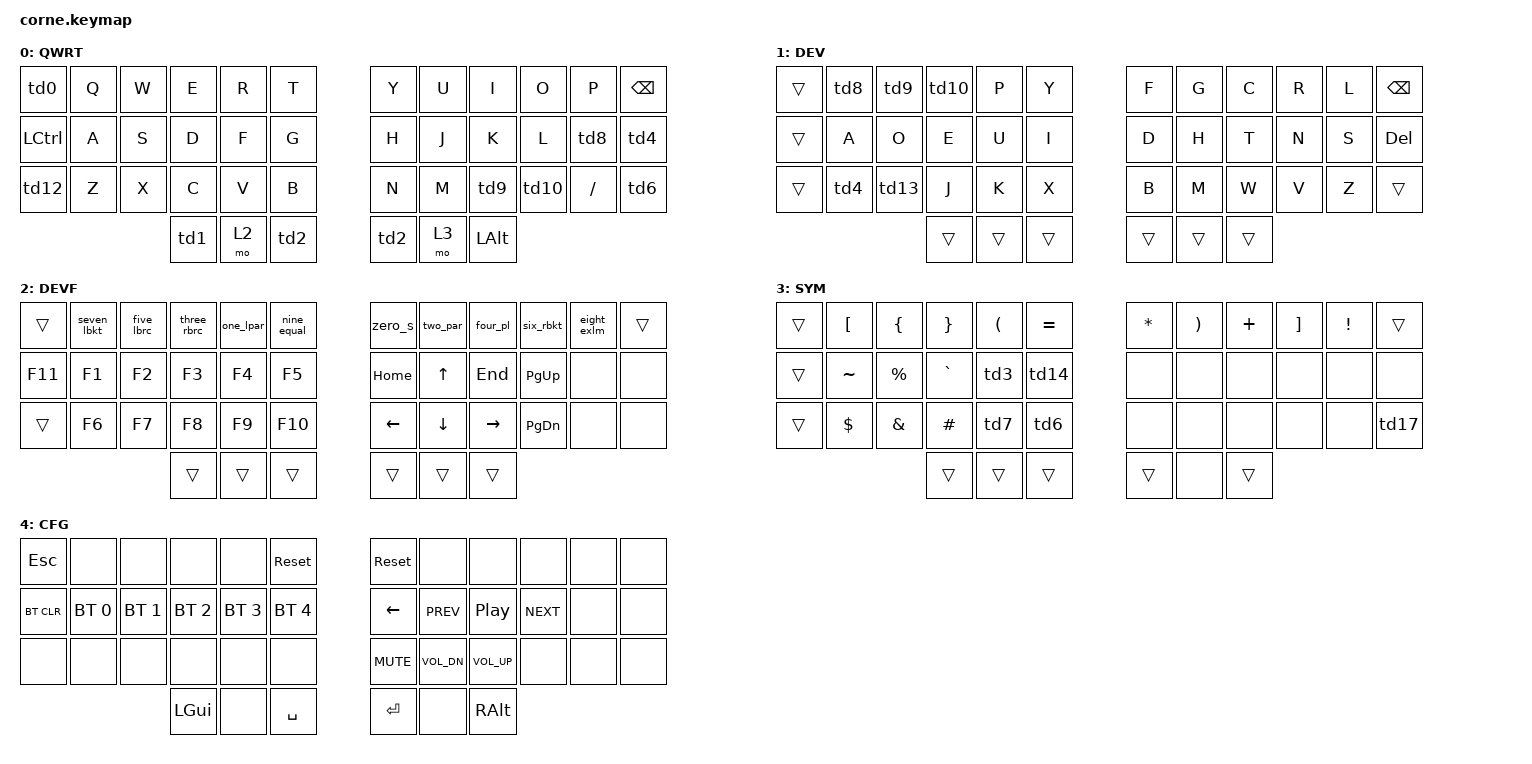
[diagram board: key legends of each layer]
/*
 * Copyright (c) 2020 The ZMK Contributors
 *
 * SPDX-License-Identifier: MIT
 */

#include <behaviors.dtsi>
#include <dt-bindings/zmk/bt.h>
#include <dt-bindings/zmk/keys.h>

#define BASE 0
#define NAV 1
#define SYM 2
#define BT 3

// TAP_DANCE settings

#define TAP_SPEED 200

// MACROS to make the the code easier to read
// include name or reference in keymap
// Format: 
//      name        reference  key1 key2 
// #define TD_TAB      &td0    // TAB ESC
// #define TD_CAPLOCK  &td1    // LSHIFT CAPSLOCK 
// #define TD_SPC      &td2    // SPACE ENTER 
// #define TD_SLSH     &td3    // SLASH QMARK
// #define TD_QUOTE    &td4    // QUOTE DOUBLE_QUOTES
// #define TD_EQL      &td5    // EQUAL PLUS
// #define TD_BSLS     &td6    // BACKSLASH PIPE 
// #define TD_MINUS    &td7    // MINUS UNDERSCORE
// #define TD_SCLN     &td8    // SEMICOLON COLON 
// #define TD_COMM     &td9    // COMMA LESS_THAN 
// #define TD_DOT      &td10   // PERIOD GREATER_THAN 
// #define TD_BACKF    &td11   // GRAVE TILDE
// #define TD_ALT      &td12   // LALT GUI
// #define TD_ARR      &td13   // Q AT (@)
// #define TD_ATCAT    &td14   // AT CARET 
// #define TD_TAW      &td15   // TAB LWIN
// #define TD_SCLOCK   &td16   // (S)LSHIFT CAPSLOCK (Sticky shift)
// include &name in keymap to use
// FORMAT
//   natural --> (on shift)
//   number --> symbols | number code --> symbol code 
// one_lpar    1 --> (  | N1 --> LPAR
// two_par     2 --> )  | N2 --> RPAR
// three_rbrc  3 --> }  | N3 --> RBRC
// four_pl     4 --> ]  | N4 --> PLUS
// five_lbrc   5 --> {  | N5 --> RSFT
// six_rbkt    6 --> ]  | N6 --> RBKT
// seven_lbkt  7 --> [  | N7 --> LBKT
// eight_exlm  8 --> !  | N8 --> EXCL
// nine_equal  9 --> =  | N9 --> EQUAL
// zero_s      0 --> *  | N0 --> STAR
/*
// Sticky key config if desired
&sk {
    //release-after-ms = <2000>;
    quick-release;
};

*/

/ {
    behaviors {
        td0: tap_dance_0 {
            compatible = "zmk,behavior-tap-dance";
            label = "TAP_DANCE_0";
            #binding-cells = <0>;
            tapping-term-ms = <TAP_SPEED>;
            bindings =
                <&kp TAB>,
                <&kp ESC>;
        };
        td1: tap_dance_1 {
            compatible = "zmk,behavior-tap-dance";
            label = "TAP_DANCE_1";
            #binding-cells = <0>;
            tapping-term-ms = <TAP_SPEED>;
            bindings =
                <&kp LSHIFT>,
                <&kp CAPSLOCK>;
        };
        td2: tap_dance_2 {
            compatible = "zmk,behavior-tap-dance";
            label = "TAP_DANCE_2";
            #binding-cells = <0>;
            tapping-term-ms = <TAP_SPEED>;
            bindings =
                <&kp SPACE>,
                <&kp ENTER>;
        };
        td3: tap_dance_3 {
            compatible = "zmk,behavior-tap-dance";
            label = "TAP_DANCE_3";
            #binding-cells = <0>;
            tapping-term-ms = <TAP_SPEED>;
            bindings =
                <&kp SLASH>,
                <&kp QMARK>;
        };
        td4: tap_dance_4 {
            compatible = "zmk,behavior-tap-dance";
            label = "TAP_DANCE_4";
            #binding-cells = <0>;
            tapping-term-ms = <TAP_SPEED>;
            bindings =
                <&kp SINGLE_QUOTE>,
                <&kp DOUBLE_QUOTES>;
        };
        td5: tap_dance_5 {
            compatible = "zmk,behavior-tap-dance";
            label = "TAP_DANCE_5";
            #binding-cells = <0>;
            tapping-term-ms = <TAP_SPEED>;
            bindings =
                <&kp EQUAL>,
                <&kp PLUS>;
        };
        td6: tap_dance_6 {
            compatible = "zmk,behavior-tap-dance";
            label = "TAP_DANCE_6";
            #binding-cells = <0>;
            tapping-term-ms = <TAP_SPEED>;
            bindings =
                <&kp BACKSLASH>,
                <&kp PIPE>;
        };
        td7: tap_dance_7 {
            compatible = "zmk,behavior-tap-dance";
            label = "TAP_DANCE_7";
            #binding-cells = <0>;
            tapping-term-ms = <TAP_SPEED>;
            bindings =
                <&kp MINUS>,
                <&kp UNDERSCORE>;
        };
        td8: tap_dance_8 {
            compatible = "zmk,behavior-tap-dance";
            label = "TAP_DANCE_8";
            #binding-cells = <0>;
            tapping-term-ms = <TAP_SPEED>;
            bindings =
                <&kp SEMICOLON>,
                <&kp COLON>;
        };
        td9: tap_dance_9 {
            compatible = "zmk,behavior-tap-dance";
            label = "TAP_DANCE_9";
            #binding-cells = <0>;
            tapping-term-ms = <TAP_SPEED>;
            bindings =
                <&kp COMMA>,
                <&kp LESS_THAN>;
        };
        td10: tap_dance_10 {
            compatible = "zmk,behavior-tap-dance";
            label = "TAP_DANCE_10";
            #binding-cells = <0>;
            tapping-term-ms = <TAP_SPEED>;
            bindings =
                <&kp PERIOD>,
                <&kp GREATER_THAN>;
        };
        td11: tap_dance_11 {
            compatible = "zmk,behavior-tap-dance";
            label = "TAP_DANCE_11";
            #binding-cells = <0>;
            tapping-term-ms = <TAP_SPEED>;
            bindings =
                <&kp GRAVE>,
                <&kp TILDE>;
        };
        td12: tap_dance_12 {
            compatible = "zmk,behavior-tap-dance";
            label = "TAP_DANCE_12";
            #binding-cells = <0>;
            tapping-term-ms = <TAP_SPEED>;
            bindings =
                <&kp LALT>,
                <&kp LGUI>;
        };
        td13: tap_dance_13 {
            compatible = "zmk,behavior-tap-dance";
            label = "TAP_DANCE_13";
            #binding-cells = <0>;
            tapping-term-ms = <TAP_SPEED>;
            bindings =
                <&kp Q>,
                <&kp AT>;
        };
        td14: tap_dance_14 {
            compatible = "zmk,behavior-tap-dance";
            label = "TAP_DANCE_14";
            #binding-cells = <0>;
            tapping-term-ms = <TAP_SPEED>;
            bindings =
                <&kp AT>,
                <&kp CARET>;
        };
        td15: tap_dance_15 {
            compatible = "zmk,behavior-tap-dance";
            label = "TAP_DANCE_15";
            #binding-cells = <0>;
            tapping-term-ms = <TAP_SPEED>;
            bindings =
                <&kp TAB>,
                <&kp LWIN>;
        };
        td16: tap_dance_16 {
            compatible = "zmk,behavior-tap-dance";
            label = "TAP_DANCE_16";
            #binding-cells = <0>;
            tapping-term-ms = <TAP_SPEED>;
            bindings =
                <&sk LSHIFT>,
                <&caps_word>;
        };

        // create the shifts of dvorak 

        seven_lbkt: seven_lbkt {
            compatible = "zmk,behavior-mod-morph";
            label = "SEVEN_LBKT";
            #binding-cells = <0>;
            bindings =
                <&kp N7>,
                <&kp LBKT>;

            mods = <(MOD_LSFT|MOD_RSFT)>;
        };
        five_lbrc: five_lbrc {
            compatible = "zmk,behavior-mod-morph";
            label = "FIVE_LBRC";
            #binding-cells = <0>;
            bindings =
                <&kp N5>,
                <&kp LBRC>;

            mods = <(MOD_LSFT|MOD_RSFT)>;
        };
        three_rbrc: three_rbrc {
            compatible = "zmk,behavior-mod-morph";
            label = "THREE_RBRC";
            #binding-cells = <0>;
            bindings =
                <&kp N3>,
                <&kp RBRC>;

            mods = <(MOD_LSFT|MOD_RSFT)>;
        };
        one_lpar: one_lpar {
            compatible = "zmk,behavior-mod-morph";
            label = "ONE_LPAR";
            #binding-cells = <0>;
            bindings =
                <&kp N1>,
                <&kp LPAR>;

            mods = <(MOD_LSFT|MOD_RSFT)>;
        };
        nine_equal: nine_equal {
            compatible = "zmk,behavior-mod-morph";
            label = "nine_equal";
            #binding-cells = <0>;
            bindings =
                <&kp N9>,
                <&kp EQUAL>;

            mods = <(MOD_LSFT|MOD_RSFT)>;
        };
        zero_s: zero_star {
            compatible = "zmk,behavior-mod-morph";
            label = "ZERO_STAR";
            #binding-cells = <0>;
            bindings =
                <&kp N0>,
                <&kp STAR>;

            mods = <(MOD_LSFT|MOD_RSFT)>;
        };
        two_par: two_paren {
            compatible = "zmk,behavior-mod-morph";
            label = "TWO_PAR";
            #binding-cells = <0>;
            bindings =
                <&kp N2>,
                <&kp RPAR>;

            mods = <(MOD_LSFT|MOD_RSFT)>;
        };
        four_pl: four_plus {
            compatible = "zmk,behavior-mod-morph";
            label = "FOUR_PLUS";
            #binding-cells = <0>;
            bindings =
                <&kp N4>,
                <&kp PLUS>;

            mods = <(MOD_LSFT|MOD_RSFT)>;
        };
        six_rbkt: six_rbkt {
            compatible = "zmk,behavior-mod-morph";
            label = "six_rbkt";
            #binding-cells = <0>;
            bindings =
                <&kp N6>,
                <&kp RBKT>;

            mods = <(MOD_LSFT|MOD_RSFT)>;
        };
        eight_exlm: eight_exlm {
            compatible = "zmk,behavior-mod-morph";
            label = "EIGHT_EXLM";
            #binding-cells = <0>;
            bindings =
                <&kp N8>,
                <&kp EXCL>;

            mods = <(MOD_LSFT|MOD_RSFT)>;
        };
        td17: tap_dance_17 {
            compatible = "zmk,behavior-tap-dance";
            label = "TAP_DANCE_17";
            #binding-cells = <0>;
            bindings =
                <&str1>,
                <&str2>,
                <&str3>;
        };
    };

    // LAYERS

    conditional_layers {
        compatible = "zmk,conditional-layers";

        tri_layer {
            if-layers = <1 2>;
            then-layer = <3>;
        };
    };

    combos {
        compatible = "zmk,combos";

        dev_mode {
            bindings = <&to 1>;
            key-positions = <36 41>;
            layers = <0>;
        };

        cfg_mode {
            bindings = <&tog 4>;
            key-positions = <37 40>;
            layers = <0 1 4>;
        };

        qwrt_mode {
            bindings = <&to 0>;
            key-positions = <36 41>;
            layers = <1>;
        };
    };

    macros {
        str1: str1 {
            compatible = "zmk,behavior-macro";
            label = "STR1";
            #binding-cells = <0>;
            bindings = <&kp N3 &kp DLLR &kp LS(T) &kp LS(R) &kp N4 &kp T &kp N0 &kp S>;
        };
        str2: str2 {
            compatible = "zmk,behavior-macro";
            label = "STR2";
            #binding-cells = <0>;
            bindings = <&kp N3 &kp DLLR &kp LS(T) &kp LS(R) &kp N4 &kp T &kp N0 &kp S &kp N1 &kp N9 &kp N8 &kp N5 &kp N0 &kp N0 &kp N7>;
        };
        str3: str3 {
            compatible = "zmk,behavior-macro";
            label = "STR3";
            #binding-cells = <0>;
            bindings = <&kp LS(S) &kp O &kp F &kp T &kp T &kp E &kp K &kp DOT &kp N1 &kp N8>;
        };
    };

    keymap {
        compatible = "zmk,keymap";

        qwerty {
            bindings = <
     &td0  &kp Q  &kp W  &kp E  &kp R  &kp T    &kp Y  &kp U     &kp I  &kp O     &kp P  &kp BACKSPACE
&kp LCTRL  &kp A  &kp S  &kp D  &kp F  &kp G    &kp H  &kp J     &kp K  &kp L      &td8           &td4
    &td12  &kp Z  &kp X  &kp C  &kp V  &kp B    &kp N  &kp M      &td9  &td10  &kp FSLH           &td6
                          &td1  &mo 2   &td2     &td2  &mo 3  &kp LALT
            >;

            label = "QWRT";
        };

        dvorak {
            // -----------------------------------------------------------------------------------------
            // |TAB:ESC   | ; : | , < | . > |  P  |  Y  |         | F   |  G   |  C  |  R  |  L  | BKSP |
            // | CTRL     |  A  |  O  |  E  |  U  |  I  |         |  D  |  H   |  T  |  N  |  S  |  DEL |
            // | LSFT:CAP |' "  | q @ | J   | K   |  X  |         |  B  |  M   |  W  |  V  |  Z  | TAB  |
            //                        | GUI | LWR | SPC |         | ENT | RSE  | ALT |

            bindings = <
&trans   &td8   &td9   &td10   &kp P   &kp Y     &kp F   &kp G   &kp C  &kp R  &kp L  &kp BSPC
&trans  &kp A  &kp O   &kp E   &kp U   &kp I     &kp D   &kp H   &kp T  &kp N  &kp S   &kp DEL
&trans   &td4  &td13   &kp J   &kp K   &kp X     &kp B   &kp M   &kp W  &kp V  &kp Z    &trans
                      &trans  &trans  &trans    &trans  &trans  &trans
            >;

            label = "DEV";
        };

        devorak_nvfn {
            // -----------------------------------------------------------------------------------------
            // |  ESC   |  7   |  5  |  3  |  1  |  9  |            |  0  |  2  |  4  |  6  |  8  |      |
            // | F11    |  F1  |  F2 |  F3 |  F4 |  F5 |            | LFT | DWN |  UP | RGT |     |      |
            // | SHFT   |  F6  |  F7 |  F8 |  F9 |  F10|            |HOME | PGDN| PGUP| END |     |      |
            //                       |     |     |     |            |     |     |     |

            bindings = <
 &trans  &seven_lbkt  &five_lbrc  &three_rbrc  &one_lpar  &nine_equal     &zero_s  &two_par   &four_pl  &six_rbkt  &eight_exlm  &trans
&kp F11       &kp F1      &kp F2       &kp F3     &kp F4       &kp F5    &kp HOME    &kp UP    &kp END  &kp PG_UP        &none   &none
 &trans       &kp F6      &kp F7       &kp F8     &kp F9      &kp F10    &kp LEFT  &kp DOWN  &kp RIGHT  &kp PG_DN        &none   &none
                                       &trans     &trans       &trans      &trans    &trans     &trans
            >;

            label = "DEVF";
        };

        symbol {
            // -----------------------------------------------------------------------------------------
            // |  ESC |  [  |  {  |  }  |  (  |  =  |       |  *  |  )  |  +  |  ]  |  !  | DEL  |
            // | CTRL |  ~  |  %  |  `  | / ? | @ ^ |       |     |     |     |     |     |      |
            // | SHFT |  $  |  &  |  #  | - _ | \ | |       |     |     |     |     |     |      |
            //                    | GUI |     | SPC |       | ENT |     | ALT |

            bindings = <
&trans   &kp LBKT   &kp LBRC   &kp RBRC  &kp LPAR  &kp EQUAL    &kp STAR  &kp RPAR  &kp PLUS  &kp RBKT  &kp EXCL  &trans
&trans  &kp TILDE  &kp PRCNT  &kp GRAVE      &td3      &td14       &none     &none     &none     &none     &none   &none
&trans   &kp DLLR   &kp AMPS   &kp HASH      &td7       &td6       &none     &none     &none     &none     &none   &td17
                                 &trans    &trans     &trans      &trans     &none    &trans
            >;

            label = "SYM";
        };

        config {
            // -----------------------------------------------------------------------------------------
            // |  ESC |     |     |     |     |     |   |         |     |         |     |   |      |
            // | BTCLR| BT1 | BT2 | BT3 | BT4 | BT5 |   | LFT     | PRV |  Play/P | NXT |   |      |
            // | SHFT |     |     |     |     |     |   | MUTE    | VOL-| VOL+|   |     |   |      |
            //                    | GUI |     | SPC |   | ENT     |     | ALT |

            bindings = <
   &kp ESC         &none         &none         &none         &none    &sys_reset    &sys_reset         &none         &none       &none  &none  &none
&bt BT_CLR  &bt BT_SEL 0  &bt BT_SEL 1  &bt BT_SEL 2  &bt BT_SEL 3  &bt BT_SEL 4      &kp LEFT    &kp C_PREV      &kp C_PP  &kp C_NEXT  &none  &none
     &none         &none         &none         &none         &none         &none    &kp C_MUTE  &kp C_VOL_DN  &kp C_VOL_UP       &none  &none  &none
                                            &kp LGUI         &none     &kp SPACE       &kp RET         &none      &kp RALT
            >;

            label = "CFG";
        };
    };
};
